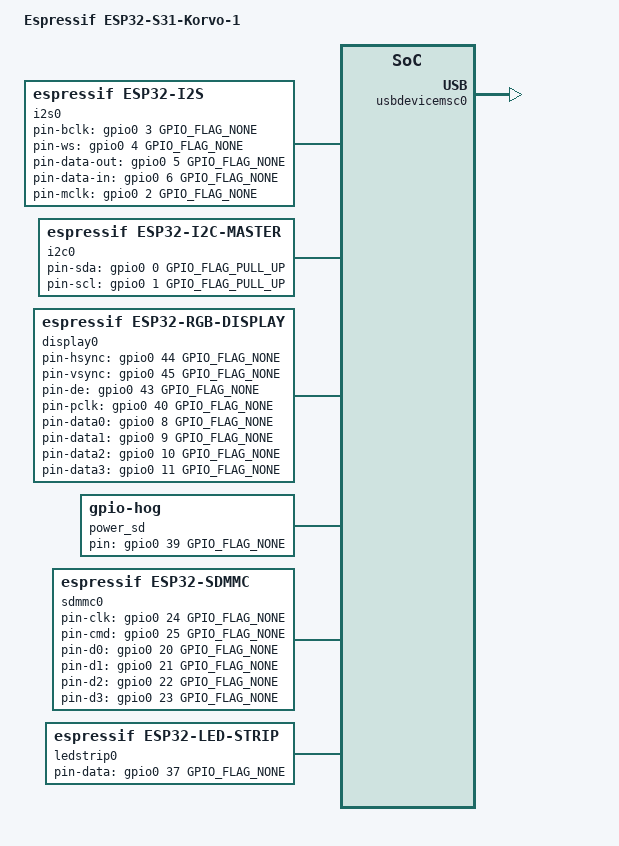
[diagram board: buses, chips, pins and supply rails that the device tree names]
/dts-v1/;

#include <tactility/bindings/root.h>
#include <tactility/bindings/esp32_ble.h>
#include <tactility/bindings/esp32_wifi_pinned.h>
#include <tactility/bindings/esp32_gpio.h>
#include <tactility/bindings/esp32_i2c_master.h>
#include <tactility/bindings/esp32_i2s.h>
#include <tactility/bindings/esp32_sdmmc.h>
#include <tactility/bindings/esp32_usbdevice.h>
#include <tactility/bindings/gpio_hog.h>

#include <bindings/esp32_led_strip.h>
#include <bindings/es8389.h>
#include <bindings/gt911.h>
#include <bindings/rgb_display.h>

/*
 * Espressif ESP32-S31-Korvo-1 V1.1.
 *
 * Not yet described: the camera, and the
 * resistor-divider ADC buttons on GPIO42.
 */
/ {
	compatible = "root";
	model = "Espressif ESP32-S31-Korvo-1";

	wifi0 {
		compatible = "espressif,esp32-wifi-pinned";
	};

	ble0 {
		compatible = "espressif,esp32-ble";
	};

	gpio0 {
		compatible = "espressif,esp32-gpio";
		gpio-count = <62>;
	};

	usbdevice0 {
		compatible = "espressif,esp32-usbdevice";

		usbdevicemsc0 {
			compatible = "espressif,esp32-usbdevice-msc";
		};
	};

	i2s0 {
		compatible = "espressif,esp32-i2s";
		port = <I2S_NUM_0>;
		pin-bclk = <&gpio0 3 GPIO_FLAG_NONE>;
		pin-ws = <&gpio0 4 GPIO_FLAG_NONE>;
		pin-data-out = <&gpio0 5 GPIO_FLAG_NONE>;
		pin-data-in = <&gpio0 6 GPIO_FLAG_NONE>;
		pin-mclk = <&gpio0 2 GPIO_FLAG_NONE>;
	};

	i2c0 {
		compatible = "espressif,esp32-i2c-master";
		port = <I2C_NUM_0>;
		clock-frequency = <400000>;
		pin-sda = <&gpio0 0 GPIO_FLAG_PULL_UP>;
		pin-scl = <&gpio0 1 GPIO_FLAG_PULL_UP>;

		es8389 {
			compatible = "everest,es8389";
			reg = <0x10>;
			i2s = <&i2s0>;
			pin-pa = <&gpio0 7 GPIO_FLAG_NONE>;
		};

		/* GT1151 on the SUB3 subboard, protocol compatible with the GT911. Reset and interrupt
		 * are not wired. */
		touch0 {
			compatible = "goodix,gt911";
			reg = <0x5D>;
			x-max = <800>;
			y-max = <480>;
		};
	};

	/* 4.3" 800x480 ST7262 RGB565 panel on the ESP32-S3-LCD-EV-Board-SUB3. The controller needs no
	 * init sequence. LCD_CS (GPIO38) and the 3-wire SPI pins (60/61) are not driven. */
	display0 {
		compatible = "espressif,esp32-rgb-display";
		horizontal-resolution = <800>;
		vertical-resolution = <480>;
		pixel-clock-hz = <26000000>;
		hsync-pulse-width = <1>;
		hsync-back-porch = <40>;
		hsync-front-porch = <20>;
		vsync-pulse-width = <1>;
		vsync-back-porch = <10>;
		vsync-front-porch = <5>;
		pclk-active-neg;
		num-fbs = <2>;
		double-fb;
		pin-hsync = <&gpio0 44 GPIO_FLAG_NONE>;
		pin-vsync = <&gpio0 45 GPIO_FLAG_NONE>;
		pin-de = <&gpio0 43 GPIO_FLAG_NONE>;
		pin-pclk = <&gpio0 40 GPIO_FLAG_NONE>;
		pin-data0 = <&gpio0 8 GPIO_FLAG_NONE>; // B3
		pin-data1 = <&gpio0 9 GPIO_FLAG_NONE>; // B4
		pin-data2 = <&gpio0 10 GPIO_FLAG_NONE>; // B5
		pin-data3 = <&gpio0 11 GPIO_FLAG_NONE>; // B6
		pin-data4 = <&gpio0 12 GPIO_FLAG_NONE>; // B7
		pin-data5 = <&gpio0 13 GPIO_FLAG_NONE>; // G2
		pin-data6 = <&gpio0 14 GPIO_FLAG_NONE>; // G3
		pin-data7 = <&gpio0 15 GPIO_FLAG_NONE>; // G4
		pin-data8 = <&gpio0 16 GPIO_FLAG_NONE>; // G5
		pin-data9 = <&gpio0 17 GPIO_FLAG_NONE>; // G6
		pin-data10 = <&gpio0 18 GPIO_FLAG_NONE>; // G7
		pin-data11 = <&gpio0 19 GPIO_FLAG_NONE>; // R3
		pin-data12 = <&gpio0 33 GPIO_FLAG_NONE>; // R4
		pin-data13 = <&gpio0 34 GPIO_FLAG_NONE>; // R5
		pin-data14 = <&gpio0 35 GPIO_FLAG_NONE>; // R6
		pin-data15 = <&gpio0 36 GPIO_FLAG_NONE>; // R7
	};

	/* SD_CTRL is the active-low microSD power switch. */
	power_sd {
		compatible = "gpio-hog";
		pin = <&gpio0 39 GPIO_FLAG_NONE>;
		mode = <GPIO_HOG_MODE_OUTPUT_LOW>;
	};

	/* microSD slot. GPIO20-25 are shared with the SPI NAND footprint, which needs hardware rework to select. */
	sdmmc0 {
		compatible = "espressif,esp32-sdmmc";
		pin-clk = <&gpio0 24 GPIO_FLAG_NONE>;
		pin-cmd = <&gpio0 25 GPIO_FLAG_NONE>;
		pin-d0 = <&gpio0 20 GPIO_FLAG_NONE>;
		pin-d1 = <&gpio0 21 GPIO_FLAG_NONE>;
		pin-d2 = <&gpio0 22 GPIO_FLAG_NONE>;
		pin-d3 = <&gpio0 23 GPIO_FLAG_NONE>;
		bus-width = <4>;
		slot = <SDMMC_HOST_SLOT_0>;
		max-freq-khz = <SDMMC_FREQ_HIGHSPEED>;
	};

	/* WS2812 RGB LED */
	ledstrip0 {
		compatible = "espressif,esp32-led-strip";
		pin-data = <&gpio0 37 GPIO_FLAG_NONE>;
		led-count = <1>;
	};
};
